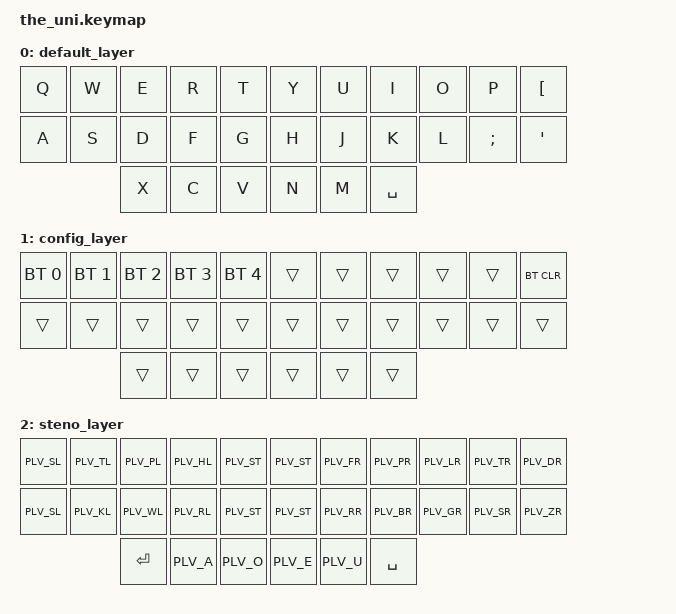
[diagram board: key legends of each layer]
#include <behaviors.dtsi>
#include <dt-bindings/zmk/keys.h>
#include <dt-bindings/zmk/bt.h>

#define DEFAULT 0
#define CONFIG 1
#define STENO 2

/ {
    combos {
        compatible = "zmk,combos";
        combo_config_layer {
            timeout-ms = <100>;
            key-positions = <25 26 27>; // all three right thumb buttons
            bindings = <&mo CONFIG>;
        };
        combo_toggle_hid_steno_layer {
            timeout-ms = <100>;
            key-positions = <22 23 24>; // all three left thumb buttons toggles steno
            bindings = <&tog STENO>;
        };
    };
};

/ {
    keymap {
        compatible = "zmk,keymap";

        default_layer {
            bindings = <
                &kp Q    &kp W    &kp E    &kp R    &kp T          &kp Y    &kp U    &kp I    &kp O    &kp P    &kp LBKT
                &kp A    &kp S    &kp D    &kp F    &kp G          &kp H    &kp J    &kp K    &kp L    &kp SEMI &kp APOS
                                  &kp X    &kp C    &kp V          &kp N    &kp M    &kp SPACE
            >;
        };
        config_layer {
            bindings = <
                &bt BT_SEL 0 &bt BT_SEL 1 &bt BT_SEL 2 &bt BT_SEL 3 &bt BT_SEL 4       &trans    &trans    &trans    &trans    &trans    &bt BT_CLR
                &trans       &trans       &trans       &trans       &trans             &trans    &trans    &trans    &trans    &trans    &trans
                                          &trans       &trans       &trans             &trans    &trans    &trans
            >;
        };
        steno_layer {
            bindings = <
                &kp PLV_SL &kp PLV_TL &kp PLV_PL &kp PLV_HL &kp PLV_ST          &kp PLV_ST &kp PLV_FR &kp PLV_PR &kp PLV_LR &kp PLV_TR &kp PLV_DR
                &kp PLV_SL &kp PLV_KL &kp PLV_WL &kp PLV_RL &kp PLV_ST          &kp PLV_ST &kp PLV_RR &kp PLV_BR &kp PLV_GR &kp PLV_SR &kp PLV_ZR
                                      &kp RET    &kp PLV_A  &kp PLV_O           &kp PLV_E  &kp PLV_U  &kp SPACE
            >;
        };
    };
};
